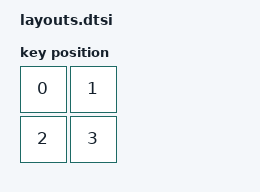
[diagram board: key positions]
// See https://zmk.dev/docs/development/hardware-integration/physical-layouts
// for how to configure this.

#include <physical_layouts.dtsi>

/ {
    default_layout: default_layout {
        compatible = "zmk,physical-layout";
        display-name = "Default Layout";
        transform = <&default_transform>;
        kscan = <&kscan>;

        // Edit this to define the positions and sizes of the keys, or remove it
        // if your keyboard will not support ZMK Studio.
        // https://zmk.dev/docs/development/hardware-integration/physical-layouts#optional-keys-property
        keys  //                     w   h    x    y     rot    rx    ry
            = <&key_physical_attrs 100 100    0    0       0     0     0>
            , <&key_physical_attrs 100 100  100    0       0     0     0>
            , <&key_physical_attrs 100 100    0  100       0     0     0>
            , <&key_physical_attrs 100 100  100  100       0     0     0>
            ;
    };
};
